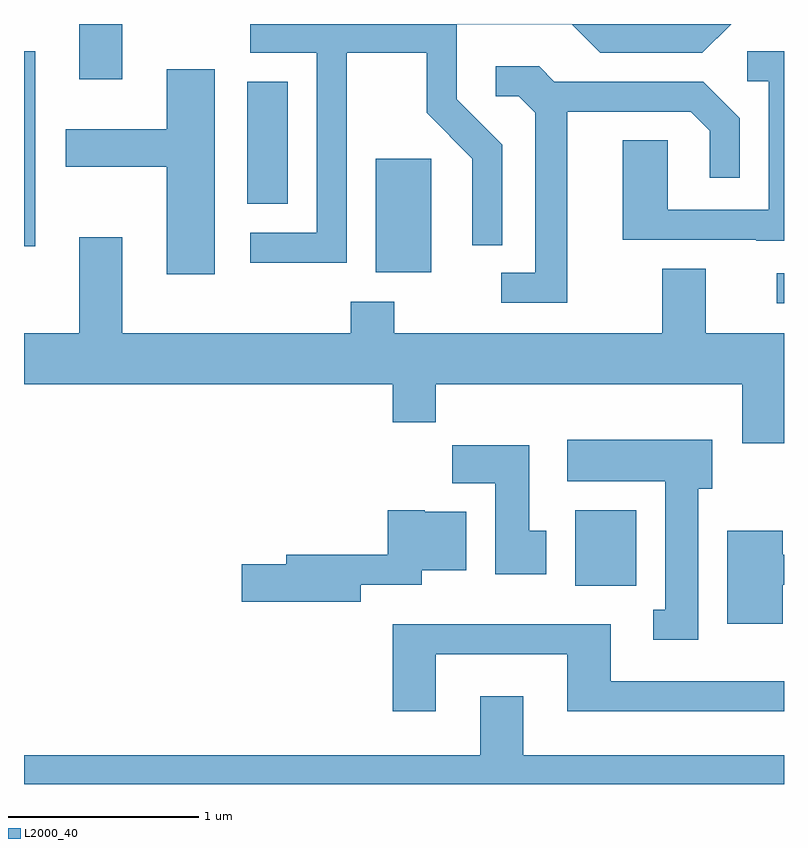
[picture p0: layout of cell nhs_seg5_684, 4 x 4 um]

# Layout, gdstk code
import gdstk
lib = gdstk.Library(unit=1e-6, precision=1e-09)
def R(c, l, rs):  # rectangles x0, y0, x1, y1
    for r in rs: c.add(gdstk.rectangle(r[:2], r[2:], *l))
def P(c, l, *ps):  # polygons
    for p in ps: c.add(gdstk.Polygon(p, *l))
L2000_40 = (2000, 40)

nhs_seg5_684 = lib.new_cell('nhs_seg5_684')
R(nhs_seg5_684, L2000_40, [(208.511,1409.116,208.834,1409.514), (209.573,1410.601,209.611,1410.759), (207.461,1410.766,207.754,1411.364), (205.611,1410.901,205.669,1411.929), (206.786,1411.126,206.999,1411.769), (205.901,1411.781,206.129,1412.072)])
P(nhs_seg5_684, L2000_40, [(207.309,1411.921),(207.731,1411.921),(207.731,1411.604),(207.971,1411.364),(207.971,1410.908),(208.129,1410.908),(208.129,1411.437),(207.889,1411.677),(207.889,1412.071),(208.494,1412.071),(208.644,1411.921),(209.182,1411.921),(209.333,1412.072),(206.803,1412.072),(206.803,1411.921),(207.151,1411.921),(207.151,1410.974),(206.803,1410.974),(206.803,1410.816),(207.309,1410.816)],
  [(209.611,1411.929),(209.418,1411.929),(209.418,1411.771),(209.531,1411.771),(209.531,1411.094),(208.999,1411.094),(208.999,1411.459),(208.761,1411.459),(208.761,1410.936),(209.465,1410.936),(209.465,1410.931),(209.611,1410.931)],
  [(208.469,1411.611),(209.119,1411.611),(209.221,1411.509),(209.221,1411.263),(209.379,1411.263),(209.379,1411.577),(209.187,1411.769),(208.402,1411.769),(208.322,1411.849),(208.093,1411.849),(208.093,1411.691),(208.214,1411.691),(208.301,1411.604),(208.301,1410.764),(208.123,1410.764),(208.123,1410.606),(208.469,1410.606)],
  [(206.614,1411.834),(206.361,1411.834),(206.361,1411.519),(205.831,1411.519),(205.831,1411.321),(206.361,1411.321),(206.361,1410.756),(206.614,1410.756)],
  [(209.611,1410.444),(209.199,1410.444),(209.199,1410.784),(208.971,1410.784),(208.971,1410.444),(207.559,1410.444),(207.559,1410.609),(207.331,1410.609),(207.331,1410.444),(206.129,1410.444),(206.129,1410.949),(205.901,1410.949),(205.901,1410.444),(205.611,1410.444),(205.611,1410.176),(207.551,1410.176),(207.551,1409.976),(207.779,1409.976),(207.779,1410.176),(209.391,1410.176),(209.391,1409.866),(209.611,1409.866)],
  [(209.159,1409.626),(209.234,1409.626),(209.234,1409.884),(208.471,1409.884),(208.471,1409.666),(208.986,1409.666),(208.986,1408.989),(208.923,1408.989),(208.923,1408.831),(209.159,1408.831)],
  [(208.359,1409.404),(208.269,1409.404),(208.269,1409.854),(207.866,1409.854),(207.866,1409.656),(208.091,1409.656),(208.091,1409.176),(208.359,1409.176)],
  [(207.384,1409.121),(207.704,1409.121),(207.704,1409.196),(207.939,1409.196),(207.939,1409.504),(207.72,1409.504),(207.72,1409.514),(207.526,1409.514),(207.526,1409.279),(206.991,1409.279),(206.991,1409.229),(206.756,1409.229),(206.756,1409.031),(207.384,1409.031)],
  [(209.604,1409.121),(209.611,1409.121),(209.611,1409.279),(209.604,1409.279),(209.604,1409.404),(209.311,1409.404),(209.311,1408.916),(209.604,1408.916)],
  [(207.779,1408.756),(208.471,1408.756),(208.471,1408.456),(209.611,1408.456),(209.611,1408.614),(208.699,1408.614),(208.699,1408.914),(207.551,1408.914),(207.551,1408.456),(207.779,1408.456)],
  [(209.611,1408.224),(208.239,1408.224),(208.239,1408.534),(208.011,1408.534),(208.011,1408.224),(205.611,1408.224),(205.611,1408.072),(209.611,1408.072)])

lib.write_gds('nhs_seg5_684.gds')
